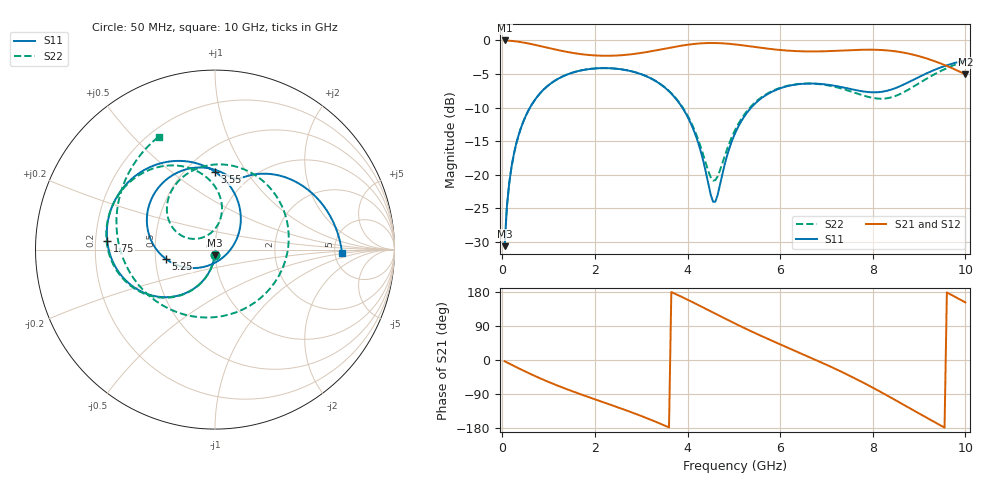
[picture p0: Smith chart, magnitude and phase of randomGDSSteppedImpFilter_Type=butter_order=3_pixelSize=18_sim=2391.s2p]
! freq	dB(S11)	phase(S11)	dB(S12)	phase(S12)
!  dB(S21)	phase(S21)	dB(S22)	phase(S22)
!S-par simulation data
#  GHz  S  DB  R 50
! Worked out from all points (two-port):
!   200 points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, 50 MHz to 10 GHz, reference 50 ohm
!   highest |S21| = -0.01 dB at 50 MHz (marker M1); lowest = -5.1 dB at 10 GHz (marker M2)
!   |S21| within 3 dB of the highest: start of sweep to 9.3 GHz
!   lowest |S11| = -30.6 dB at 50 MHz (marker M3), VSWR 1.06, Z = 49.8 - j2.92 ohm
!   |S11| at or under -10 dB: start of sweep to 599 MHz; 3.886 GHz to 5.377 GHz (1.491 GHz wide, 32.2 % of centre)
!   |S22| runs from -30.6 to -3.1 dB; largest |S21 - S12| = 0
!   S11 on the Smith chart (normalised r, x): 50 MHz: 1.00, -0.06; 1.75 GHz: 0.25, +0.04; 3.55 GHz: 0.68, +0.73; 5.25 GHz: 0.57, -0.06; 10 GHz: 5.82, -0.50
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0.05  -30.64 -92.9  -0.01 -3.2  -0.01 -3.2  -30.64 -92.8
0.1  -24.69 -96.2  -0.03 -6.3  -0.03 -6.3  -24.69 -96.1
0.2  -18.80 -102.8  -0.08 -12.5  -0.08 -12.5  -18.80 -102.7
0.5  -11.35 -121.3  -0.38 -30.6  -0.38 -30.6  -11.35 -120.9
1.05  -6.40 -151.5  -1.21 -60.5  -1.21 -60.5  -6.40 -150.5
1.75  -4.41 175.6  -2.09 -93.0  -2.09 -93.0  -4.41 177.4
2.7  -4.47 133.7  -2.14 -134.0  -2.14 -134.0  -4.46 137.9
3.4  -6.45 98.5  -1.38 -167.4  -1.38 -167.4  -6.43 107.5
3.55  -7.27 89.9  -1.19 -175.3  -1.19 -175.3  -7.23 100.8
4.1  -12.81 51.0  -0.56 153.2  -0.56 153.2  -12.57 80.5
4.55  -24.02 -40.1  -0.39 125.4  -0.39 125.4  -20.87 114.6
5.05  -13.48 -153.9  -0.62 94.7  -0.62 94.7  -13.04 156.3
5.25  -11.09 -169.4  -0.79 82.9  -0.79 82.9  -10.83 150.0
5.95  -7.26 149.8  -1.40 44.0  -1.40 44.0  -7.18 116.1
6.7  -6.42 115.2  -1.65 4.0  -1.65 4.0  -6.44 72.5
7.15  -6.73 97.7  -1.57 -21.0  -1.57 -21.0  -6.87 41.1
7.6  -7.36 83.9  -1.44 -47.6  -1.44 -47.6  -7.77 2.5
8.35  -7.43 70.1  -1.52 -96.4  -1.52 -96.4  -8.56 -84.1
8.75  -6.30 60.5  -1.94 -123.8  -1.94 -123.8  -7.41 -133.0
9.2  -4.79 42.7  -2.78 -154.7  -2.78 -154.7  -5.56 -179.5
9.6  -3.71 21.9  -3.81 178.3  -3.81 178.3  -4.13 146.2
10  -2.99 -1.7  -5.06 152.0  -5.06 152.0  -3.06 116.5
